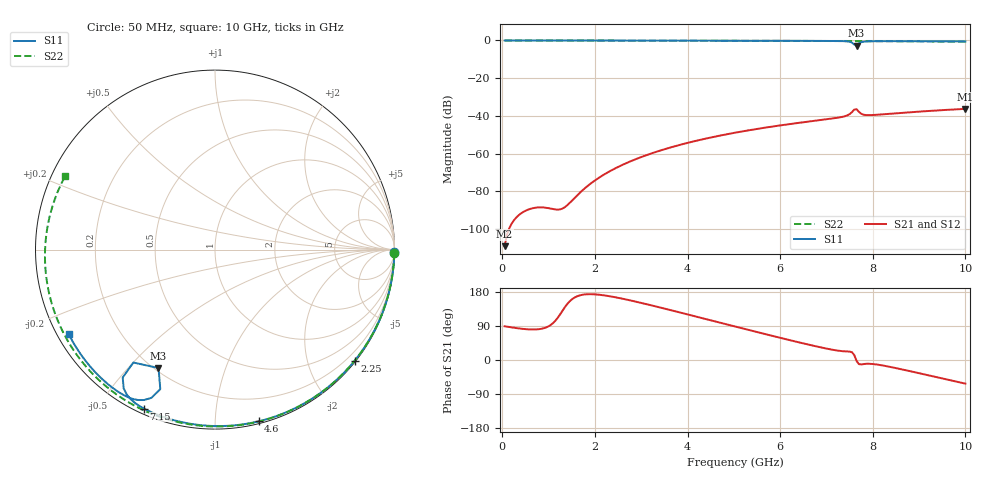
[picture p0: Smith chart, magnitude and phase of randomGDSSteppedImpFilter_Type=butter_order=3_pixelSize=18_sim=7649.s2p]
! freq	dB(S11)	phase(S11)	dB(S12)	phase(S12)
!  dB(S21)	phase(S21)	dB(S22)	phase(S22)
!S-par simulation data
#  GHz  S  DB  R 50
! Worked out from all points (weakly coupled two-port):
!   200 points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, 50 MHz to 10 GHz, reference 50 ohm
!   highest |S21| = -36.23 dB at 10 GHz (marker M1); lowest = -109.0 dB at 50 MHz (marker M2)
!   lowest |S11| = -2.7 dB at 7.65 GHz (marker M3), VSWR 6.44, Z = 10.8 - j30.5 ohm
!   |S11| at or under -10 dB: nowhere
!   |S22| runs from -0.6 to 0.0 dB; largest |S21 - S12| = 0
!   S11 on the Smith chart (normalised r, x): 50 MHz: open; 2.25 GHz: 0.03, -2.87; 4.6 GHz: 0.02, -1.29; 7.15 GHz: 0.02, -0.65; 10 GHz: 0.03, -0.27
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0.05  -0.00 -0.8  -108.96 89.0  -108.96 89.0  -0.00 -1.1
0.85  -0.02 -14.7  -88.41 82.5  -88.41 82.5  -0.02 -19.6
1.7  -0.04 -29.2  -80.08 171.4  -80.08 171.4  -0.05 -38.7
1.75  -0.04 -30.1  -78.97 172.5  -78.97 172.5  -0.05 -39.8
2.25  -0.05 -38.4  -70.25 169.6  -70.25 169.6  -0.06 -50.8
2.75  -0.06 -46.6  -64.20 157.7  -64.20 157.7  -0.08 -61.5
3.4  -0.08 -57.1  -58.39 138.8  -58.39 138.8  -0.10 -75.1
4.6  -0.11 -75.8  -50.90 101.7  -50.90 101.7  -0.14 -99.1
5.05  -0.13 -82.5  -48.75 87.6  -48.75 87.6  -0.17 -107.8
5.85  -0.16 -94.3  -45.53 63.1  -45.53 63.1  -0.21 -123.1
6.7  -0.21 -106.8  -42.71 38.1  -42.71 38.1  -0.27 -139.1
7.15  -0.26 -114.1  -41.29 26.6  -41.29 26.6  -0.31 -147.6
7.4  -0.39 -119.6  -40.12 22.8  -40.12 22.8  -0.33 -152.3
7.55  -1.12 -125.8  -37.99 20.5  -37.99 20.5  -0.34 -155.2
7.6  -2.20 -125.9  -36.62 13.1  -36.62 13.1  -0.35 -156.1
7.65  -2.72 -115.5  -36.40 -2.3  -36.40 -2.3  -0.35 -157.1
7.7  -1.57 -111.4  -37.79 -11.0  -37.79 -11.0  -0.36 -158.1
7.8  -0.66 -115.3  -39.32 -10.7  -39.32 -10.7  -0.37 -160.0
8  -0.40 -120.6  -39.50 -10.6  -39.50 -10.6  -0.39 -163.9
8.35  -0.37 -126.7  -38.88 -17.6  -38.88 -17.6  -0.42 -170.8
9.2  -0.43 -138.9  -37.37 -40.3  -37.37 -40.3  -0.52 171.7
10  -0.53 -150.0  -36.23 -62.4  -36.23 -62.4  -0.63 153.9
